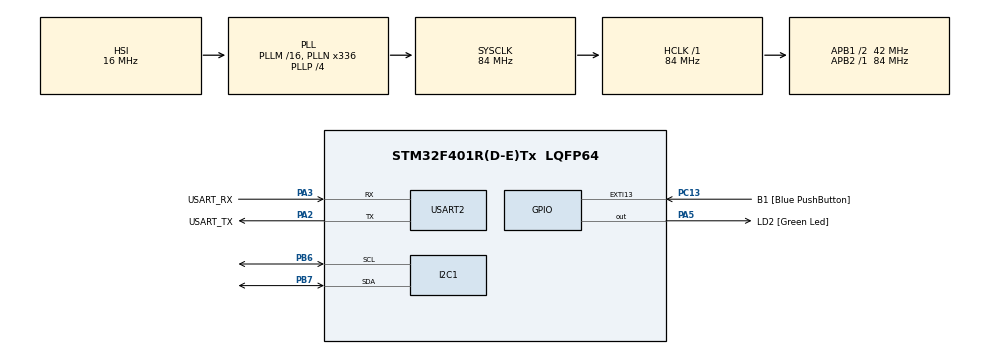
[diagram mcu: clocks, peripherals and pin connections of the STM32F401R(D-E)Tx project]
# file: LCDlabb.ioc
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Mcu.Family=STM32F4
Mcu.Name=STM32F401R(D-E)Tx
Mcu.Package=LQFP64
NVIC.PriorityGroup=NVIC_PRIORITYGROUP_0
NVIC.TIM1_UP_TIM10_IRQn=true\:0\:0\:false\:false\:true\:true\:true\:true
PA13.GPIO_Label=TMS
PA13.Mode=Serial_Wire
PA13.Signal=SYS_JTMS-SWDIO
PA14.GPIO_Label=TCK
PA14.Mode=Serial_Wire
PA14.Signal=SYS_JTCK-SWCLK
PA2.GPIO_Label=USART_TX
PA2.GPIO_Mode=GPIO_MODE_AF_PP
PA2.GPIO_PuPd=GPIO_NOPULL
PA2.GPIO_Speed=GPIO_SPEED_FREQ_LOW
PA2.Mode=Asynchronous
PA2.Signal=USART2_TX
PA3.GPIO_Label=USART_RX
PA3.GPIO_Mode=GPIO_MODE_AF_PP
PA3.GPIO_PuPd=GPIO_NOPULL
PA3.GPIO_Speed=GPIO_SPEED_FREQ_LOW
PA3.Mode=Asynchronous
PA3.Signal=USART2_RX
PA5.GPIO_Label=LD2 [Green Led]
PA5.GPIO_Mode=GPIO_MODE_OUTPUT_PP
PA5.GPIO_PuPd=GPIO_NOPULL
PA5.GPIO_Speed=GPIO_SPEED_FREQ_LOW
PA5.Signal=GPIO_Output
PB3.GPIO_Label=SWO
PB3.Signal=SYS_JTDO-SWO
PB6.Mode=I2C
PB6.Signal=I2C1_SCL
PB7.Mode=I2C
PB7.Signal=I2C1_SDA
PC13-ANTI_TAMP.GPIO_Label=B1 [Blue PushButton]
PC13-ANTI_TAMP.GPIO_ModeDefaultEXTI=GPIO_MODE_IT_FALLING
PC13-ANTI_TAMP.GPIO_PuPd=GPIO_NOPULL
PC13-ANTI_TAMP.Signal=GPXTI13
PC14-OSC32_IN.Mode=LSE-External-Oscillator
PC14-OSC32_IN.Signal=RCC_OSC32_IN
PC15-OSC32_OUT.Mode=LSE-External-Oscillator
PC15-OSC32_OUT.Signal=RCC_OSC32_OUT
PH0\ -\ OSC_IN.Mode=HSE-External-Clock-Source
PH0\ -\ OSC_IN.Signal=RCC_OSC_IN
PH1\ -\ OSC_OUT.Mode=HSE-External-Clock-Source
PH1\ -\ OSC_OUT.Signal=RCC_OSC_OUT
ProjectManager.HeapSize=0x200
ProjectManager.StackSize=0x400
ProjectManager.TargetToolchain=STM32CubeIDE
RCC.48MHZClocksFreq_Value=48000000
RCC.AHBFreq_Value=84000000
RCC.APB1CLKDivider=RCC_HCLK_DIV2
RCC.APB1Freq_Value=42000000
RCC.APB1TimFreq_Value=84000000
RCC.APB2Freq_Value=84000000
RCC.APB2TimFreq_Value=84000000
RCC.CortexFreq_Value=84000000
RCC.HCLKFreq_Value=84000000
RCC.HSE_VALUE=8000000
RCC.HSI_VALUE=16000000
RCC.PLLN=336
RCC.PLLP=RCC_PLLP_DIV4
RCC.PLLQ=7
RCC.SYSCLKFreq_VALUE=84000000
RCC.SYSCLKSource=RCC_SYSCLKSOURCE_PLLCLK
RCC.VCOOutputFreq_Value=336000000
TIM1.Period=2624
TIM1.Prescaler=15999
TIM5.AutoReloadPreload=TIM_AUTORELOAD_PRELOAD_ENABLE
TIM5.Prescaler=84
USART2.VirtualMode=VM_ASYNC
VP_TIM1_VS_ClockSourceINT.Mode=Internal
VP_TIM5_VS_ClockSourceINT.Mode=Internal
board=NUCLEO-F401RE

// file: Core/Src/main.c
/* USER CODE BEGIN Header */
/**
  ******************************************************************************
  * @file           : main.c
  * @brief          : Main program body
  ******************************************************************************
  * @attention
  *
  * Copyright (c) 2022 STMicroelectronics.
  * All rights reserved.
  *
  * This software is licensed under terms that can be found in the LICENSE file
  * in the root directory of this software component.
  * If no LICENSE file comes with this software, it is provided AS-IS.
  *
  ******************************************************************************
  */
/* USER CODE END Header */
#include "main.h"

/* USER CODE BEGIN Includes */
#include "lcd.h"

#include <stdio.h>
/* USER CODE END Includes */

 I2C_HandleTypeDef hi2c1;

TIM_HandleTypeDef htim1;
TIM_HandleTypeDef htim5;

UART_HandleTypeDef huart2;

void SystemClock_Config(void);
static void MX_GPIO_Init(void);
static void MX_USART2_UART_Init(void);
static void MX_I2C1_Init(void);
static void MX_TIM1_Init(void);
static void MX_TIM5_Init(void);

/* USER CODE BEGIN 0 */

struct clock_data
{
	uint8_t hrs;
	uint8_t min;
	uint8_t sec;
	uint8_t half;
};

void cd_set(struct clock_data *pcd, uint8_t hrs, uint8_t min, uint8_t sec){
	pcd->hrs = hrs;
	pcd->min = min;
	pcd->sec = sec;
	pcd->half = 0;
}

void cd_tick(struct clock_data * pcd){
	pcd->half++;

	pcd->sec += pcd->half / 2;
	pcd->half %= 2;

	pcd->min += pcd->sec / 60;
	pcd->sec %= 60;

	pcd->hrs += pcd->min / 60;
	pcd->min %= 60;

	pcd->hrs %= 24;
}

int cd_string(struct clock_data * pcd, char * str){
	  char delimiter = pcd->half ? ':' : ' ';
	  return sprintf(str, "%02u%c%02u%c%02u", pcd->hrs, delimiter, pcd->min, delimiter, pcd->sec);
}

void uart_print_cd(UART_HandleTypeDef * huart, struct clock_data * pcd){
	char cl_str[10] = {'\0'};
	char str[81] = {'\0'};
	int str_len = 0;
	str_len = cd_string(pcd, cl_str);
	str_len = sprintf(str, "%s\n\r", cl_str);
	HAL_UART_Transmit(&huart2, (uint8_t*) str, str_len, HAL_MAX_DELAY);
}

void lcd_print_cd(TextLCDType *hlcd, struct clock_data * pcd){
	char str[10] = {'\0'};
	cd_string(pcd, str);
	TextLCD_Position(hlcd, 8, 1);
	TextLCD_PutStr(hlcd, str);
}

uint32_t unhandled_clock = 0;
void HAL_TIM_PeriodElapsedCallback(TIM_HandleTypeDef *htim){
	if(htim == &htim1){
		unhandled_clock++;
	}
}
/* USER CODE END 0 */

int main(void)
{

  /* MCU Configuration--------------------------------------------------------*/

  /* Reset of all peripherals, Initializes the Flash interface and the Systick. */
  HAL_Init();

  /* Configure the system clock */
  SystemClock_Config();

  /* Initialize all configured peripherals */
  MX_GPIO_Init();
  MX_USART2_UART_Init();
  MX_I2C1_Init();
  MX_TIM1_Init();
  MX_TIM5_Init();
  /* USER CODE BEGIN 2 */

  struct clock_data my_clock;
  cd_set(&my_clock, 23, 59, 45);

  HAL_TIM_Base_Start_IT(&htim1);
  {
	  char str[81] = {'\0'};
	  int str_len = 0;
	  str_len = sprintf(str, "Starting\n\r");
	  HAL_UART_Transmit(&huart2, (uint8_t*) str, str_len, HAL_MAX_DELAY);
	  str_len = sprintf(str, "took %lu\n\r", high_resolution_clock);
	  HAL_UART_Transmit(&huart2, (uint8_t*) str, str_len, HAL_MAX_DELAY);
  }
  uart_print_cd(&huart2, &my_clock);

  TextLCDType hlcd;

  TextLCD_Init(&hlcd, &hi2c1, 0x4E);
  TextLCD_SetBacklightFlag(GPIO_PIN_SET);

  TextLCD_Clear(&hlcd);
  TextLCD_Home(&hlcd);
  TextLCD_PutStr(&hlcd, "Hello world");

  /* USER CODE END 2 */

  /* Infinite loop */
  /* USER CODE BEGIN WHILE */

  while (1)
  {
	  if(unhandled_clock){
		  unhandled_clock--;
		  cd_tick(&my_clock);
		  lcd_print_cd(&hlcd, &my_clock);
	  }
    /* USER CODE END WHILE */

  }
}

void SystemClock_Config(void)
{
  RCC_OscInitTypeDef RCC_OscInitStruct = {0};
  RCC_ClkInitTypeDef RCC_ClkInitStruct = {0};

  /** Configure the main internal regulator output voltage
  */
  __HAL_RCC_PWR_CLK_ENABLE();
  __HAL_PWR_VOLTAGESCALING_CONFIG(PWR_REGULATOR_VOLTAGE_SCALE2);

  /** Initializes the RCC Oscillators according to the specified parameters
  * in the RCC_OscInitTypeDef structure.
  */
  RCC_OscInitStruct.OscillatorType = RCC_OSCILLATORTYPE_HSI;
  RCC_OscInitStruct.HSIState = RCC_HSI_ON;
  RCC_OscInitStruct.HSICalibrationValue = RCC_HSICALIBRATION_DEFAULT;
  RCC_OscInitStruct.PLL.PLLState = RCC_PLL_ON;
  RCC_OscInitStruct.PLL.PLLSource = RCC_PLLSOURCE_HSI;
  RCC_OscInitStruct.PLL.PLLM = 16;
  RCC_OscInitStruct.PLL.PLLN = 336;
  RCC_OscInitStruct.PLL.PLLP = RCC_PLLP_DIV4;
  RCC_OscInitStruct.PLL.PLLQ = 7;
  if (HAL_RCC_OscConfig(&RCC_OscInitStruct) != HAL_OK)
  {
    Error_Handler();
  }

  /** Initializes the CPU, AHB and APB buses clocks
  */
  RCC_ClkInitStruct.ClockType = RCC_CLOCKTYPE_HCLK|RCC_CLOCKTYPE_SYSCLK
                              |RCC_CLOCKTYPE_PCLK1|RCC_CLOCKTYPE_PCLK2;
  RCC_ClkInitStruct.SYSCLKSource = RCC_SYSCLKSOURCE_PLLCLK;
  RCC_ClkInitStruct.AHBCLKDivider = RCC_SYSCLK_DIV1;
  RCC_ClkInitStruct.APB1CLKDivider = RCC_HCLK_DIV2;
  RCC_ClkInitStruct.APB2CLKDivider = RCC_HCLK_DIV1;

  if (HAL_RCC_ClockConfig(&RCC_ClkInitStruct, FLASH_LATENCY_2) != HAL_OK)
  {
    Error_Handler();
  }
}

static void MX_I2C1_Init(void)
{

  hi2c1.Instance = I2C1;
  hi2c1.Init.ClockSpeed = 100000;
  hi2c1.Init.DutyCycle = I2C_DUTYCYCLE_2;
  hi2c1.Init.OwnAddress1 = 0;
  hi2c1.Init.AddressingMode = I2C_ADDRESSINGMODE_7BIT;
  hi2c1.Init.DualAddressMode = I2C_DUALADDRESS_DISABLE;
  hi2c1.Init.OwnAddress2 = 0;
  hi2c1.Init.GeneralCallMode = I2C_GENERALCALL_DISABLE;
  hi2c1.Init.NoStretchMode = I2C_NOSTRETCH_DISABLE;
  if (HAL_I2C_Init(&hi2c1) != HAL_OK)
  {
    Error_Handler();
  }

}

static void MX_TIM1_Init(void)
{

  TIM_ClockConfigTypeDef sClockSourceConfig = {0};
  TIM_MasterConfigTypeDef sMasterConfig = {0};

  htim1.Instance = TIM1;
  htim1.Init.Prescaler = 15999;
  htim1.Init.CounterMode = TIM_COUNTERMODE_UP;
  htim1.Init.Period = 2624;
  htim1.Init.ClockDivision = TIM_CLOCKDIVISION_DIV1;
  htim1.Init.RepetitionCounter = 0;
  htim1.Init.AutoReloadPreload = TIM_AUTORELOAD_PRELOAD_DISABLE;
  if (HAL_TIM_Base_Init(&htim1) != HAL_OK)
  {
    Error_Handler();
  }
  sClockSourceConfig.ClockSource = TIM_CLOCKSOURCE_INTERNAL;
  if (HAL_TIM_ConfigClockSource(&htim1, &sClockSourceConfig) != HAL_OK)
  {
    Error_Handler();
  }
  sMasterConfig.MasterOutputTrigger = TIM_TRGO_RESET;
  sMasterConfig.MasterSlaveMode = TIM_MASTERSLAVEMODE_DISABLE;
  if (HAL_TIMEx_MasterConfigSynchronization(&htim1, &sMasterConfig) != HAL_OK)
  {
    Error_Handler();
  }

}

static void MX_TIM5_Init(void)
{

  TIM_ClockConfigTypeDef sClockSourceConfig = {0};
  TIM_MasterConfigTypeDef sMasterConfig = {0};

  htim5.Instance = TIM5;
  htim5.Init.Prescaler = 84;
  htim5.Init.CounterMode = TIM_COUNTERMODE_UP;
  htim5.Init.Period = 4294967295;
  htim5.Init.ClockDivision = TIM_CLOCKDIVISION_DIV1;
  htim5.Init.AutoReloadPreload = TIM_AUTORELOAD_PRELOAD_ENABLE;
  if (HAL_TIM_Base_Init(&htim5) != HAL_OK)
  {
    Error_Handler();
  }
  sClockSourceConfig.ClockSource = TIM_CLOCKSOURCE_INTERNAL;
  if (HAL_TIM_ConfigClockSource(&htim5, &sClockSourceConfig) != HAL_OK)
  {
    Error_Handler();
  }
  sMasterConfig.MasterOutputTrigger = TIM_TRGO_RESET;
  sMasterConfig.MasterSlaveMode = TIM_MASTERSLAVEMODE_DISABLE;
  if (HAL_TIMEx_MasterConfigSynchronization(&htim5, &sMasterConfig) != HAL_OK)
  {
    Error_Handler();
  }

}

static void MX_USART2_UART_Init(void)
{

  huart2.Instance = USART2;
  huart2.Init.BaudRate = 115200;
  huart2.Init.WordLength = UART_WORDLENGTH_8B;
  huart2.Init.StopBits = UART_STOPBITS_1;
  huart2.Init.Parity = UART_PARITY_NONE;
  huart2.Init.Mode = UART_MODE_TX_RX;
  huart2.Init.HwFlowCtl = UART_HWCONTROL_NONE;
  huart2.Init.OverSampling = UART_OVERSAMPLING_16;
  if (HAL_UART_Init(&huart2) != HAL_OK)
  {
    Error_Handler();
  }

}

static void MX_GPIO_Init(void)
{
  GPIO_InitTypeDef GPIO_InitStruct = {0};

  /* GPIO Ports Clock Enable */
  __HAL_RCC_GPIOC_CLK_ENABLE();
  __HAL_RCC_GPIOH_CLK_ENABLE();
  __HAL_RCC_GPIOA_CLK_ENABLE();
  __HAL_RCC_GPIOB_CLK_ENABLE();

  /*Configure GPIO pin Output Level */
  HAL_GPIO_WritePin(LD2_GPIO_Port, LD2_Pin, GPIO_PIN_RESET);

  /*Configure GPIO pin : B1_Pin */
  GPIO_InitStruct.Pin = B1_Pin;
  GPIO_InitStruct.Mode = GPIO_MODE_IT_FALLING;
  GPIO_InitStruct.Pull = GPIO_NOPULL;
  HAL_GPIO_Init(B1_GPIO_Port, &GPIO_InitStruct);

  /*Configure GPIO pin : LD2_Pin */
  GPIO_InitStruct.Pin = LD2_Pin;
  GPIO_InitStruct.Mode = GPIO_MODE_OUTPUT_PP;
  GPIO_InitStruct.Pull = GPIO_NOPULL;
  GPIO_InitStruct.Speed = GPIO_SPEED_FREQ_LOW;
  HAL_GPIO_Init(LD2_GPIO_Port, &GPIO_InitStruct);

}

void Error_Handler(void)
{
  __disable_irq();
  while (1)
  {
  }
}
